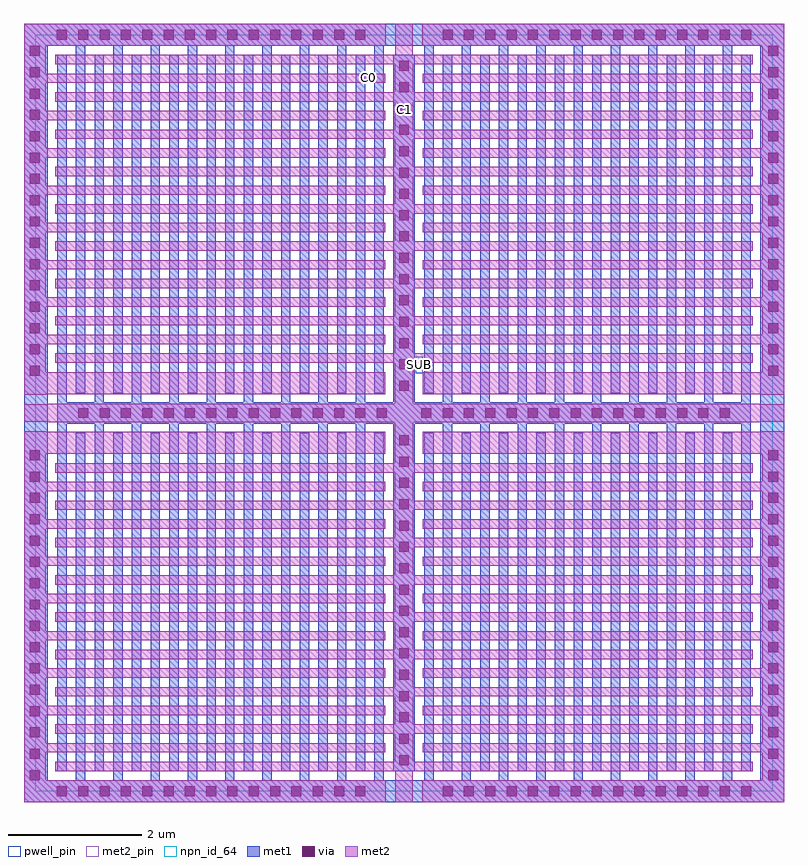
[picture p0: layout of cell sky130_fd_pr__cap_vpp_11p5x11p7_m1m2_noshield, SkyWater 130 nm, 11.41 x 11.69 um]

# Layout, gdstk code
import gdstk
lib = gdstk.Library(unit=1e-6, precision=1e-09)
def R(c, l, rs):  # rectangles x0, y0, x1, y1
    for r in rs: c.add(gdstk.rectangle(r[:2], r[2:], *l))
def A(c, l, x, y, w, h, nx, ny, dx, dy):  # array of equal rectangles
    R(c, l, [(x+i*dx, y+j*dy, x+i*dx+w, y+j*dy+h) for i in range(nx) for j in range(ny)])
def P(c, l, *ps):  # polygons
    for p in ps: c.add(gdstk.Polygon(p, *l))
met1 = (68, 20)
via = (68, 44)
met2_pin = (69, 16)
met2 = (69, 20)
npn_id_64 = (82, 64)
pwell_pin = (122, 16)

sky130_fd_pr__cap_vpp_11 = lib.new_cell('sky130_fd_pr__cap_vpp_11p5x11p7_m1m2_noshield')
A(sky130_fd_pr__cap_vpp_11, met1, 0.78, 0.33, 0.14, 5.215, 9, 2, 0.56, 5.815)
A(sky130_fd_pr__cap_vpp_11, met1, 6.01, 0.33, 0.14, 5.215, 9, 2, 0.56, 5.815)
A(sky130_fd_pr__cap_vpp_11, met1, 0.5, 0.47, 0.14, 5.215, 9, 2, 0.56, 5.535)
A(sky130_fd_pr__cap_vpp_11, met1, 6.29, 0.47, 0.14, 5.215, 9, 2, 0.56, 5.535)
R(sky130_fd_pr__cap_vpp_11, met1, [(0,0,5.84,0.33), (5.57,0,11.41,0.33), (0,0.33,0.36,5.55), (11.05,0.33,11.41,5.545), (5.54,0.47,5.87,5.685), (11.05,5.545,11.41,6.145), (0,5.55,0.36,6.145), (0.5,5.685,5.84,6.005), (5.57,5.685,10.91,6.005), (5.54,6.005,5.87,11.22), (0,6.145,0.36,11.36), (11.05,6.145,11.41,11.36), (0,11.36,5.84,11.69), (5.57,11.36,11.41,11.69)])
A(sky130_fd_pr__cap_vpp_11, via, 4.015, 0.09, 0.15, 0.15, 1, 3, 0, 5.68)
A(sky130_fd_pr__cap_vpp_11, via, 7.245, 0.09, 0.15, 0.15, 1, 3, 0, 5.68)
A(sky130_fd_pr__cap_vpp_11, via, 0.09, 0.335, 0.15, 0.15, 1, 16, 0, 0.32)
A(sky130_fd_pr__cap_vpp_11, via, 11.17, 0.335, 0.15, 0.15, 1, 16, 0, 0.32)
A(sky130_fd_pr__cap_vpp_11, via, 5.63, 0.56, 0.15, 0.15, 1, 16, 0, 0.32)
A(sky130_fd_pr__cap_vpp_11, via, 0.815, 5.77, 0.15, 0.15, 11, 1, 0.32, 0)
A(sky130_fd_pr__cap_vpp_11, via, 7.245, 5.77, 0.15, 0.15, 11, 1, 0.32, 0)
A(sky130_fd_pr__cap_vpp_11, via, 5.63, 6.18, 0.15, 0.15, 1, 16, 0, 0.32)
A(sky130_fd_pr__cap_vpp_11, via, 0.09, 6.405, 0.15, 0.15, 1, 16, 0, 0.32)
A(sky130_fd_pr__cap_vpp_11, via, 11.17, 6.405, 0.15, 0.15, 1, 16, 0, 0.32)
R(sky130_fd_pr__cap_vpp_11, via, [(0.495,0.09,0.645,0.24), (0.495,0.09,0.645,0.24), (0.815,0.09,0.965,0.24), (0.815,0.09,0.965,0.24), (1.135,0.09,1.285,0.24), (1.135,0.09,1.285,0.24), (1.455,0.09,1.605,0.24), (1.455,0.09,1.605,0.24), (1.775,0.09,1.925,0.24), (1.775,0.09,1.925,0.24), (2.095,0.09,2.245,0.24), (2.095,0.09,2.245,0.24), (2.415,0.09,2.565,0.24), (2.415,0.09,2.565,0.24), (2.735,0.09,2.885,0.24), (2.735,0.09,2.885,0.24), (3.055,0.09,3.205,0.24), (3.055,0.09,3.205,0.24), (3.375,0.09,3.525,0.24), (3.375,0.09,3.525,0.24), (3.695,0.09,3.845,0.24), (3.695,0.09,3.845,0.24), (4.015,0.09,4.165,0.24), (4.335,0.09,4.485,0.24), (4.335,0.09,4.485,0.24), (4.655,0.09,4.805,0.24), (4.655,0.09,4.805,0.24), (4.975,0.09,5.125,0.24), (4.975,0.09,5.125,0.24), (6.285,0.09,6.435,0.24), (6.285,0.09,6.435,0.24), (6.605,0.09,6.755,0.24), (6.605,0.09,6.755,0.24), (6.925,0.09,7.075,0.24), (6.925,0.09,7.075,0.24), (7.245,0.09,7.395,0.24), (7.565,0.09,7.715,0.24), (7.565,0.09,7.715,0.24), (7.885,0.09,8.035,0.24), (7.885,0.09,8.035,0.24), (8.205,0.09,8.355,0.24), (8.205,0.09,8.355,0.24), (8.525,0.09,8.675,0.24), (8.525,0.09,8.675,0.24), (8.845,0.09,8.995,0.24), (8.845,0.09,8.995,0.24), (9.165,0.09,9.315,0.24), (9.165,0.09,9.315,0.24), (9.485,0.09,9.635,0.24), (9.485,0.09,9.635,0.24), (9.805,0.09,9.955,0.24), (9.805,0.09,9.955,0.24), (10.125,0.09,10.275,0.24), (10.125,0.09,10.275,0.24), (10.445,0.09,10.595,0.24), (10.445,0.09,10.595,0.24), (10.765,0.09,10.915,0.24), (10.765,0.09,10.915,0.24), (4.335,5.77,4.485,5.92), (4.335,5.77,4.485,5.92), (4.655,5.77,4.805,5.92), (4.655,5.77,4.805,5.92), (4.975,5.77,5.125,5.92), (4.975,5.77,5.125,5.92), (5.295,5.77,5.445,5.92), (5.295,5.77,5.445,5.92), (5.965,5.77,6.115,5.92), (5.965,5.77,6.115,5.92), (6.285,5.77,6.435,5.92), (6.285,5.77,6.435,5.92), (6.605,5.77,6.755,5.92), (6.605,5.77,6.755,5.92), (6.925,5.77,7.075,5.92), (6.925,5.77,7.075,5.92), (0.495,11.45,0.645,11.6), (0.495,11.45,0.645,11.6), (0.815,11.45,0.965,11.6), (0.815,11.45,0.965,11.6), (1.135,11.45,1.285,11.6), (1.135,11.45,1.285,11.6), (1.455,11.45,1.605,11.6), (1.455,11.45,1.605,11.6), (1.775,11.45,1.925,11.6), (1.775,11.45,1.925,11.6), (2.095,11.45,2.245,11.6), (2.095,11.45,2.245,11.6), (2.415,11.45,2.565,11.6), (2.415,11.45,2.565,11.6), (2.735,11.45,2.885,11.6), (2.735,11.45,2.885,11.6), (3.055,11.45,3.205,11.6), (3.055,11.45,3.205,11.6), (3.375,11.45,3.525,11.6), (3.375,11.45,3.525,11.6), (3.695,11.45,3.845,11.6), (3.695,11.45,3.845,11.6), (4.015,11.45,4.165,11.6), (4.335,11.45,4.485,11.6), (4.335,11.45,4.485,11.6), (4.655,11.45,4.805,11.6), (4.655,11.45,4.805,11.6), (4.975,11.45,5.125,11.6), (4.975,11.45,5.125,11.6), (6.285,11.45,6.435,11.6), (6.285,11.45,6.435,11.6), (6.605,11.45,6.755,11.6), (6.605,11.45,6.755,11.6), (6.925,11.45,7.075,11.6), (6.925,11.45,7.075,11.6), (7.245,11.45,7.395,11.6), (7.565,11.45,7.715,11.6), (7.565,11.45,7.715,11.6), (7.885,11.45,8.035,11.6), (7.885,11.45,8.035,11.6), (8.205,11.45,8.355,11.6), (8.205,11.45,8.355,11.6), (8.525,11.45,8.675,11.6), (8.525,11.45,8.675,11.6), (8.845,11.45,8.995,11.6), (8.845,11.45,8.995,11.6), (9.165,11.45,9.315,11.6), (9.165,11.45,9.315,11.6), (9.485,11.45,9.635,11.6), (9.485,11.45,9.635,11.6), (9.805,11.45,9.955,11.6), (9.805,11.45,9.955,11.6), (10.125,11.45,10.275,11.6), (10.125,11.45,10.275,11.6), (10.445,11.45,10.595,11.6), (10.445,11.45,10.595,11.6), (10.765,11.45,10.915,11.6), (10.765,11.45,10.915,11.6)])
R(sky130_fd_pr__cap_vpp_11, met2_pin, [(5.605,10.31,5.815,10.49), (5.095,10.81,5.245,10.92)])
P(sky130_fd_pr__cap_vpp_11, met2, [(11.41,5.57),(11.08,5.57),(11.08,5.565),(5.985,5.565),(5.985,5.23),(11.08,5.23),(11.08,4.81),(5.985,4.81),(5.985,4.67),(11.08,4.67),(11.08,4.25),(5.985,4.25),(5.985,4.11),(11.08,4.11),(11.08,3.69),(5.985,3.69),(5.985,3.55),(11.08,3.55),(11.08,3.13),(5.985,3.13),(5.985,2.99),(11.08,2.99),(11.08,2.57),(5.985,2.57),(5.985,2.43),(11.08,2.43),(11.08,2.01),(5.985,2.01),(5.985,1.87),(11.08,1.87),(11.08,1.45),(5.985,1.45),(5.985,1.31),(11.08,1.31),(11.08,0.89),(5.985,0.89),(5.985,0.75),(11.08,0.75),(11.08,0.33),(5.98,0.33),(5.98,0),(11.41,0)],
  [(11.41,5.98),(11.04,5.98),(11.04,5.985),(5.845,5.985),(5.845,6.6),(10.94,6.6),(10.94,6.74),(5.845,6.74),(5.845,7.16),(10.94,7.16),(10.94,7.3),(5.845,7.3),(5.845,7.72),(10.94,7.72),(10.94,7.86),(5.845,7.86),(5.845,8.28),(10.94,8.28),(10.94,8.42),(5.845,8.42),(5.845,8.84),(10.94,8.84),(10.94,8.98),(5.845,8.98),(5.845,9.4),(10.94,9.4),(10.94,9.54),(5.845,9.54),(5.845,9.96),(10.94,9.96),(10.94,10.1),(5.845,10.1),(5.845,10.52),(10.94,10.52),(10.94,10.66),(5.845,10.66),(5.845,11.08),(10.94,11.08),(10.94,11.22),(5.84,11.22),(5.84,11.69),(5.57,11.69),(5.57,11.22),(0.47,11.22),(0.47,11.08),(5.565,11.08),(5.565,10.66),(0.47,10.66),(0.47,10.52),(5.565,10.52),(5.565,10.1),(0.47,10.1),(0.47,9.96),(5.565,9.96),(5.565,9.54),(0.47,9.54),(0.47,9.4),(5.565,9.4),(5.565,8.98),(0.47,8.98),(0.47,8.84),(5.565,8.84),(5.565,8.42),(0.47,8.42),(0.47,8.28),(5.565,8.28),(5.565,7.86),(0.47,7.86),(0.47,7.72),(5.565,7.72),(5.565,7.3),(0.47,7.3),(0.47,7.16),(5.565,7.16),(5.565,6.74),(0.47,6.74),(0.47,6.6),(5.565,6.6),(5.565,5.985),(0.37,5.985),(0.37,5.98),(0,5.98),(0,5.71),(0.37,5.71),(0.37,5.705),(5.565,5.705),(5.565,5.09),(0.47,5.09),(0.47,4.95),(5.565,4.95),(5.565,4.53),(0.47,4.53),(0.47,4.39),(5.565,4.39),(5.565,3.97),(0.47,3.97),(0.47,3.83),(5.565,3.83),(5.565,3.41),(0.47,3.41),(0.47,3.27),(5.565,3.27),(5.565,2.85),(0.47,2.85),(0.47,2.71),(5.565,2.71),(5.565,2.29),(0.47,2.29),(0.47,2.15),(5.565,2.15),(5.565,1.73),(0.47,1.73),(0.47,1.59),(5.565,1.59),(5.565,1.17),(0.47,1.17),(0.47,1.03),(5.565,1.03),(5.565,0.61),(0.47,0.61),(0.47,0.47),(5.57,0.47),(5.57,0),(5.84,0),(5.84,0.47),(10.94,0.47),(10.94,0.61),(5.845,0.61),(5.845,1.03),(10.94,1.03),(10.94,1.17),(5.845,1.17),(5.845,1.59),(10.94,1.59),(10.94,1.73),(5.845,1.73),(5.845,2.15),(10.94,2.15),(10.94,2.29),(5.845,2.29),(5.845,2.71),(10.94,2.71),(10.94,2.85),(5.845,2.85),(5.845,3.27),(10.94,3.27),(10.94,3.41),(5.845,3.41),(5.845,3.83),(10.94,3.83),(10.94,3.97),(5.845,3.97),(5.845,4.39),(10.94,4.39),(10.94,4.53),(5.845,4.53),(5.845,4.95),(10.94,4.95),(10.94,5.09),(5.845,5.09),(5.845,5.705),(11.04,5.705),(11.04,5.71),(11.41,5.71)],
  [(11.41,11.69),(5.98,11.69),(5.98,11.36),(11.08,11.36),(11.08,10.94),(5.985,10.94),(5.985,10.8),(11.08,10.8),(11.08,10.38),(5.985,10.38),(5.985,10.24),(11.08,10.24),(11.08,9.82),(5.985,9.82),(5.985,9.68),(11.08,9.68),(11.08,9.26),(5.985,9.26),(5.985,9.12),(11.08,9.12),(11.08,8.7),(5.985,8.7),(5.985,8.56),(11.08,8.56),(11.08,8.14),(5.985,8.14),(5.985,8),(11.08,8),(11.08,7.58),(5.985,7.58),(5.985,7.44),(11.08,7.44),(11.08,7.02),(5.985,7.02),(5.985,6.88),(11.08,6.88),(11.08,6.46),(5.985,6.46),(5.985,6.125),(11.08,6.125),(11.08,6.12),(11.41,6.12)],
  [(5.43,0.33),(0.33,0.33),(0.33,0.75),(5.425,0.75),(5.425,0.89),(0.33,0.89),(0.33,1.31),(5.425,1.31),(5.425,1.45),(0.33,1.45),(0.33,1.87),(5.425,1.87),(5.425,2.01),(0.33,2.01),(0.33,2.43),(5.425,2.43),(5.425,2.57),(0.33,2.57),(0.33,2.99),(5.425,2.99),(5.425,3.13),(0.33,3.13),(0.33,3.55),(5.425,3.55),(5.425,3.69),(0.33,3.69),(0.33,4.11),(5.425,4.11),(5.425,4.25),(0.33,4.25),(0.33,4.67),(5.425,4.67),(5.425,4.81),(0.33,4.81),(0.33,5.23),(5.425,5.23),(5.425,5.565),(0.33,5.565),(0.33,5.57),(0,5.57),(0,0),(5.43,0)],
  [(5.43,11.69),(0,11.69),(0,6.12),(0.33,6.12),(0.33,6.125),(5.425,6.125),(5.425,6.46),(0.33,6.46),(0.33,6.88),(5.425,6.88),(5.425,7.02),(0.33,7.02),(0.33,7.44),(5.425,7.44),(5.425,7.58),(0.33,7.58),(0.33,8),(5.425,8),(5.425,8.14),(0.33,8.14),(0.33,8.56),(5.425,8.56),(5.425,8.7),(0.33,8.7),(0.33,9.12),(5.425,9.12),(5.425,9.26),(0.33,9.26),(0.33,9.68),(5.425,9.68),(5.425,9.82),(0.33,9.82),(0.33,10.24),(5.425,10.24),(5.425,10.38),(0.33,10.38),(0.33,10.8),(5.425,10.8),(5.425,10.94),(0.33,10.94),(0.33,11.36),(5.43,11.36)])
R(sky130_fd_pr__cap_vpp_11, npn_id_64, [(0.17,0.17,11.24,11.52)])
R(sky130_fd_pr__cap_vpp_11, pwell_pin, [(5.88,6.445,5.985,6.69)])
sky130_fd_pr__cap_vpp_11.add(gdstk.Label('C0', (5.17,10.88), layer=69, texttype=5))
sky130_fd_pr__cap_vpp_11.add(gdstk.Label('C1', (5.71,10.4), layer=69, texttype=5))
sky130_fd_pr__cap_vpp_11.add(gdstk.Label('SUB', (5.935,6.57), layer=64, texttype=59))

lib.write_gds('sky130_fd_pr__cap_vpp_11p5x11p7_m1m2_noshield.gds')
